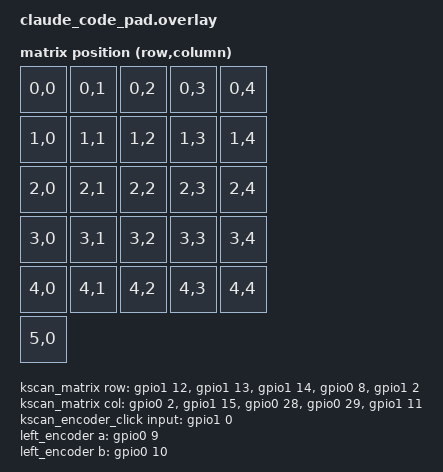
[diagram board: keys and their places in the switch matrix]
/*
 * Claude Code Pad shield overlay.
 *
 * Target MCU: Seeed XIAO nRF52840 (Zephyr board: xiao_ble/nrf52840).
 *
 * Pin map (final, Phase 1 Cycle 5 + Phase 3 Cycle 2 firmware):
 *
 *   XIAO front castellation (1x14):
 *     D0 / P0.02 / AIN0  -> COL0
 *     D1 / P0.03 / AIN1  -> NTC_ADC (pin-rework, see BODGE-MAP)
 *     D2 / P0.28 / AIN4  -> COL2
 *     D3 / P0.29 / AIN5  -> COL3
 *     D4 / P0.04 / AIN2  -> SDA (TWI0, PN532)
 *     D5 / P0.05 / AIN3  -> SCL (TWI0, PN532)
 *     D6 / P1.11         -> COL4
 *     D7 / P1.12         -> ROW0
 *     D8 / P1.13         -> ROW1
 *     D9 / P1.14         -> ROW2
 *     D10 / P1.15        -> COL1 (moved from D1, see BODGE-MAP)
 *
 *   XIAO back-pad bodges (rear-pad J_XIAO_BP cluster, slots 0..6):
 *     slot 0 -> ENC_A         -> back-pad P0.09
 *     slot 1 -> ENC_B         -> back-pad P0.10
 *     slot 2 -> ENC_SW        -> back-pad P1.00  (needs internal pull-up)
 *     slot 3 -> RGB_DIN_MCU   -> back-pad P0.06
 *     slot 4 -> ROW3          -> back-pad P0.08
 *     slot 5 -> VBAT_ADC      -> back-pad P0.31 / AIN7 (SAADC capable)
 *     slot 6 -> ROW4          -> back-pad P1.02
 *
 *   >>> BUILDERS: see BODGE-MAP.md for the definitive wire guide.
 */

#include <dt-bindings/zmk/matrix_transform.h>
#include <zephyr/dt-bindings/input/input-event-codes.h>
#include <zephyr/dt-bindings/led/led.h>
#include <zephyr/dt-bindings/adc/adc.h>
#include <zephyr/dt-bindings/i2c/i2c.h>
#include <zephyr/dt-bindings/gpio/gpio.h>
#include <freq.h>

/ {
	chosen {
		zmk,kscan = &kscan_composite;
		zmk,matrix_transform = &default_transform;
	};

	/*
	 * 5x5 matrix. Rows are the diode-anode side (inputs, pulled up
	 * internally); columns are the driven side.
	 */
	kscan_matrix: kscan_matrix {
		compatible = "zmk,kscan-gpio-matrix";
		diode-direction = "col2row";
		wakeup-source;
		debounce-press-ms = <5>;
		debounce-release-ms = <5>;
		poll-period-ms = <10>;

		row-gpios
			= <&gpio1 12 (GPIO_ACTIVE_HIGH | GPIO_PULL_DOWN)>   /* ROW0 -> D7  / P1.12 */
			, <&gpio1 13 (GPIO_ACTIVE_HIGH | GPIO_PULL_DOWN)>   /* ROW1 -> D8  / P1.13 */
			, <&gpio1 14 (GPIO_ACTIVE_HIGH | GPIO_PULL_DOWN)>   /* ROW2 -> D9  / P1.14 */
			, <&gpio0  8 (GPIO_ACTIVE_HIGH | GPIO_PULL_DOWN)>   /* ROW3 -> back-pad slot 4 / P0.08 */
			, <&gpio1  2 (GPIO_ACTIVE_HIGH | GPIO_PULL_DOWN)>   /* ROW4 -> back-pad slot 6 / P1.02 */
			;

		col-gpios
			= <&gpio0  2 GPIO_ACTIVE_HIGH>    /* COL0 -> D0  / P0.02 */
			, <&gpio1 15 GPIO_ACTIVE_HIGH>    /* COL1 -> D10 / P1.15 (moved) */
			, <&gpio0 28 GPIO_ACTIVE_HIGH>    /* COL2 -> D2  / P0.28 */
			, <&gpio0 29 GPIO_ACTIVE_HIGH>    /* COL3 -> D3  / P0.29 */
			, <&gpio1 11 GPIO_ACTIVE_HIGH>    /* COL4 -> D6  / P1.11 */
			;
	};

	/*
	 * FW-M9: ENC_SW (encoder push) as a direct single-key kscan,
	 * combined into a composite with the main matrix so the matrix
	 * transform can address it at position 25 (row 5, col 0).
	 * ENC_SW sits on back-pad slot 2 / P1.00.
	 *
	 * BODGE-MAP note: P1.00 is the nRF52840 SWO (trace) pin. If live
	 * debug trace is enabled (not by default in our build) this
	 * conflicts. For most builders this is fine; see BODGE-MAP §SWO.
	 */
	kscan_encoder_click: kscan_encoder_click {
		compatible = "zmk,kscan-gpio-direct";
		wakeup-source;
		input-gpios = <&gpio1 0 (GPIO_ACTIVE_LOW | GPIO_PULL_UP)>;   /* P1.00 */
	};

	kscan_composite: kscan_composite {
		compatible = "zmk,kscan-composite";
		rows = <6>;
		columns = <5>;

		matrix {
			kscan = <&kscan_matrix>;
		};

		encoder_click {
			kscan = <&kscan_encoder_click>;
			row-offset = <5>;
		};
	};

	/*
	 * 6 rows x 5 cols matrix with ENC_SW at (5, 0) = position 25.
	 */
	default_transform: keymap_transform {
		compatible = "zmk,matrix-transform";
		columns = <5>;
		rows = <6>;
		map = <
			RC(0,0) RC(0,1) RC(0,2) RC(0,3) RC(0,4)
			RC(1,0) RC(1,1) RC(1,2) RC(1,3) RC(1,4)
			RC(2,0) RC(2,1) RC(2,2) RC(2,3) RC(2,4)
			RC(3,0) RC(3,1) RC(3,2) RC(3,3) RC(3,4)
			RC(4,0) RC(4,1) RC(4,2) RC(4,3) RC(4,4)
			RC(5,0)
		>;
	};

	/*
	 * EC11 rotary encoder. A/B on back-pad slots 0/1, switch on slot 2
	 * (switch handled by kscan_encoder_click above).
	 */
	left_encoder: encoder_left {
		compatible = "alps,ec11";
		a-gpios = <&gpio0  9 (GPIO_ACTIVE_HIGH | GPIO_PULL_UP)>;   /* ENC_A -> P0.09 */
		b-gpios = <&gpio0 10 (GPIO_ACTIVE_HIGH | GPIO_PULL_UP)>;   /* ENC_B -> P0.10 */
		steps = <80>;
		status = "okay";
	};

	sensors: sensors {
		compatible = "zmk,keymap-sensors";
		sensors = <&left_encoder>;
		triggers-per-rotation = <20>;
	};
};

/*
 * -------- RGB WS2812 (SK6812MINI-E) strip --------------------------------
 */
&pinctrl {
	/*
	 * FW-M1 / SF-M3: bias-pull-down on MOSI in BOTH default and
	 * sleep pinctrl states. When the pin is handed back to the
	 * peripheral after the init-safe GPIO LOW hook, the bias
	 * keeps DIN at a defined 0 through any SPI re-init glitch
	 * that would otherwise re-light the LEDs momentarily.
	 */
	spi3_ccp_default: spi3_ccp_default {
		group1 {
			psels = <NRF_PSEL(SPIM_MOSI, 0, 6)>;
			bias-pull-down;
		};
	};
	spi3_ccp_sleep: spi3_ccp_sleep {
		group1 {
			psels = <NRF_PSEL(SPIM_MOSI, 0, 6)>;
			low-power-enable;
			bias-pull-down;
		};
	};
};

&spi3 {
	compatible = "nordic,nrf-spim";
	status = "okay";
	pinctrl-0 = <&spi3_ccp_default>;
	pinctrl-1 = <&spi3_ccp_sleep>;
	pinctrl-names = "default", "sleep";

	led_strip: ws2812@0 {
		compatible = "worldsemi,ws2812-spi";
		reg = <0>;
		spi-max-frequency = <4000000>;
		chain-length = <25>;
		spi-one-frame = <0x70>;
		spi-zero-frame = <0x40>;
		color-mapping = <LED_COLOR_ID_GREEN
				 LED_COLOR_ID_RED
				 LED_COLOR_ID_BLUE>;
	};
};

/ {
	chosen {
		zmk,underglow = &led_strip;
	};
};

/*
 * -------- SAADC channels: VBAT_ADC, NTC_ADC ------------------------------
 *
 * VBAT_ADC = VBAT / 2 (2x 1 MOhm divider) on back-pad slot 5 -> P0.31 /
 * AIN7. 100 nF ADC cap at the centre tap. Source impedance ~500 kOhm
 * -- SAADC OVERSAMPLE>=2^3 (8 samples) + BURST mode required per
 * firmware/zmk/README.md §Hard Requirement: Battery Cutoff Voltage.
 *
 * NTC_ADC on D1 / P0.03 / AIN1 after the Phase 3 C1 pin rework. 10 kOhm
 * MF52 NTC divided against 10 kOhm R_NTC to GND, high-side-connected to
 * +3V3.
 *
 * Both channels use the internal 0.6 V reference with gain 1/6 giving
 * full-scale 3.6 V -- adequate for 3.3 V rails.
 *
 * SF #23: zephyr,oversampling = <3> (-> 2^3 = 8 samples) AND
 * nordic,burst-enable <3> on each channel, so the SAADC samples in
 * burst mode and averages 8 raw conversions per user-visible sample.
 */
&adc {
	status = "okay";

	#address-cells = <1>;
	#size-cells = <0>;

	vbat_adc_ch: channel@7 {
		reg = <7>;
		zephyr,gain = "ADC_GAIN_1_6";
		zephyr,reference = "ADC_REF_INTERNAL";
		zephyr,acquisition-time = <ADC_ACQ_TIME(ADC_ACQ_TIME_MICROSECONDS, 40)>;
		zephyr,input-positive = <NRF_SAADC_AIN7>;   /* P0.31 */
		zephyr,resolution = <12>;
		zephyr,oversampling = <3>;   /* 2^3 = 8 samples */
	};

	ntc_adc_ch: channel@1 {
		reg = <1>;
		zephyr,gain = "ADC_GAIN_1_6";
		zephyr,reference = "ADC_REF_INTERNAL";
		zephyr,acquisition-time = <ADC_ACQ_TIME(ADC_ACQ_TIME_MICROSECONDS, 40)>;
		zephyr,input-positive = <NRF_SAADC_AIN1>;   /* P0.03 / D1 */
		zephyr,resolution = <12>;
		zephyr,oversampling = <3>;
		/*
		 * nRF SAADC oversampling >= 2 implicitly enables burst mode
		 * (hardware repeats the configured acquisition N times into
		 * a single averaged result). SF #23 verified.
		 */
	};
};

/ {
	ccp_safety: ccp_safety {
		compatible = "claude-code-pad,ccp-safety";
		io-channels = <&adc 7>, <&adc 1>;
		io-channel-names = "vbat", "ntc";
		vbat-divider-ohms = <1000000 1000000>;
		ntc-beta-k = <3950>;
		ntc-pullup-ohms = <10000>;
		ntc-nominal-ohms = <10000>;
		ntc-nominal-temp-k = <298>;
		status = "okay";
	};
};

/*
 * I2C0 for the PN532 NFC reader (Phase 5 RFID figurine stack) is
 * intentionally left in the board's default disabled state. Adding
 * pinctrl + re-enabling it here would require defining an i2c0_default
 * / i2c0_sleep pinctrl pair; the Phase 5 deliverable will re-enable it
 * then. We do NOT want to carry a half-configured TWI node that would
 * fail DT validation or silently idle the pins.
 */
